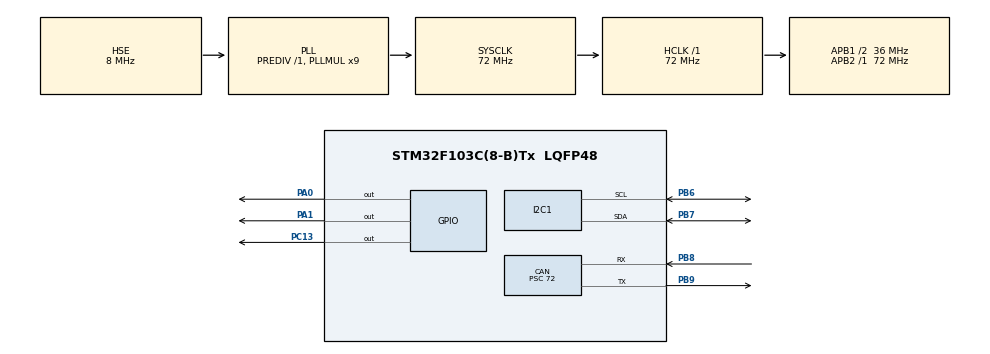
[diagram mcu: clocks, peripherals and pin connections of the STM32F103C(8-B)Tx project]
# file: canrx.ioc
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CAN.BS1=CAN_BS1_2TQ
CAN.CalculateBaudRate=125000
CAN.CalculateTimeBit=8000
CAN.CalculateTimeQuantum=2000.0
CAN.Prescaler=72
Mcu.Family=STM32F1
Mcu.Name=STM32F103C(8-B)Tx
Mcu.Package=LQFP48
NVIC.CAN1_RX1_IRQn=true\:0\:0\:false\:false\:true\:true\:true
NVIC.PriorityGroup=NVIC_PRIORITYGROUP_4
PA0-WKUP.Signal=GPIO_Output
PA1.Signal=GPIO_Output
PA13.Mode=Serial_Wire
PA13.Signal=SYS_JTMS-SWDIO
PA14.Mode=Serial_Wire
PA14.Signal=SYS_JTCK-SWCLK
PB6.Mode=I2C
PB6.Signal=I2C1_SCL
PB7.Mode=I2C
PB7.Signal=I2C1_SDA
PB8.Mode=CAN_Activate
PB8.Signal=CAN_RX
PB9.Mode=CAN_Activate
PB9.Signal=CAN_TX
PC13-TAMPER-RTC.Signal=GPIO_Output
PD0-OSC_IN.Mode=HSE-External-Oscillator
PD0-OSC_IN.Signal=RCC_OSC_IN
PD1-OSC_OUT.Mode=HSE-External-Oscillator
PD1-OSC_OUT.Signal=RCC_OSC_OUT
ProjectManager.HeapSize=0x200
ProjectManager.StackSize=0x400
ProjectManager.TargetToolchain=STM32CubeIDE
RCC.AHBFreq_Value=72000000
RCC.APB1CLKDivider=RCC_HCLK_DIV2
RCC.APB1Freq_Value=36000000
RCC.APB1TimFreq_Value=72000000
RCC.APB2Freq_Value=72000000
RCC.APB2TimFreq_Value=72000000
RCC.HCLKFreq_Value=72000000
RCC.PLLMUL=RCC_PLL_MUL9
RCC.PLLSourceVirtual=RCC_PLLSOURCE_HSE
RCC.SYSCLKFreq_VALUE=72000000
RCC.SYSCLKSource=RCC_SYSCLKSOURCE_PLLCLK
RCC.USBFreq_Value=72000000
board=custom

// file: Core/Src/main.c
/* USER CODE BEGIN Header */
/**
  ******************************************************************************
  * @file           : main.c
  * @brief          : Main program body
  ******************************************************************************
  * @attention
  *
  * Copyright (c) 2025 STMicroelectronics.
  * All rights reserved.
  *
  * This software is licensed under terms that can be found in the LICENSE file
  * in the root directory of this software component.
  * If no LICENSE file comes with this software, it is provided AS-IS.
  *
  ******************************************************************************
  */
/* USER CODE END Header */
#include "main.h"

/* USER CODE BEGIN Includes */
#include "ssd1306.h"
#include "ssd1306_fonts.h"
#include "string.h"
#include "stdio.h"
/* USER CODE END Includes */

CAN_HandleTypeDef hcan;

I2C_HandleTypeDef hi2c1;

/* USER CODE BEGIN PV */
CAN_FilterTypeDef sFilterConfig;
CAN_RxHeaderTypeDef RxHeader;
uint8_t RxData[8];
uint8_t delayLED ;
uint8_t previousDelayLED = 100;  // Biến lưu giá trị delay trước đó
char buffer[20];
uint8_t obstacleSensorValue;
uint32_t stableStartTime = 0;
uint8_t previousValue = 0;
uint8_t isStable = 0;
/* USER CODE END PV */

void SystemClock_Config(void);
static void MX_GPIO_Init(void);
static void MX_CAN_Init(void);
static void MX_I2C1_Init(void);

/* USER CODE BEGIN 0 */
//CAN_FilterTypeDef sFilterConfig;
//CAN_RxHeaderTypeDef RxHeader;
//uint8_t RxData[8];
//uint8_t delayLED;
void HAL_CAN_RxFifo1MsgPendingCallback(CAN_HandleTypeDef *hcan)
{
  HAL_CAN_GetRxMessage(hcan, CAN_RX_FIFO1, &RxHeader, RxData);
  delayLED = RxData[7];  // Nhận giá trị delay mới từ CAN
  obstacleSensorValue = RxData[6];

  // Kiểm tra nếu giá trị delay thay đổi, thì mới cập nhật màn hình
  if (delayLED != previousDelayLED)
  {
    // Hiển thị dữ liệu lên OLEDs
    ssd1306_Fill(Black);
    sprintf(buffer, "Delay: %d ms", delayLED);
    ssd1306_SetCursor(2, 0);
    ssd1306_WriteString(buffer, Font_11x18, White);
    ssd1306_SetCursor(2, 20);
    sprintf(buffer, "State: %d ", obstacleSensorValue);
    ssd1306_WriteString(buffer, Font_11x18, White);
    ssd1306_UpdateScreen();

    // Cập nhật giá trị delay trước đó
    previousDelayLED = delayLED;
  }

}
/* USER CODE END 0 */

int main(void)
{

  /* MCU Configuration--------------------------------------------------------*/

  /* Reset of all peripherals, Initializes the Flash interface and the Systick. */
  HAL_Init();

  /* Configure the system clock */
  SystemClock_Config();

  /* Initialize all configured peripherals */
  MX_GPIO_Init();
  MX_CAN_Init();
  MX_I2C1_Init();
  /* USER CODE BEGIN 2 */
  ssd1306_Init();
  ssd1306_Fill(Black);
  ssd1306_UpdateScreen();
  	HAL_CAN_Start(&hcan);
    // Configure the filter
    sFilterConfig.FilterActivation = CAN_FILTER_ENABLE;
    sFilterConfig.FilterFIFOAssignment = CAN_FILTER_FIFO1;
    sFilterConfig.FilterMode = CAN_FILTERMODE_IDMASK;
    sFilterConfig.FilterIdHigh = 0x6A5<<5;
    sFilterConfig.FilterIdLow = 0;
    sFilterConfig.FilterMaskIdHigh = 0x7FF<<5; // SET 0 to unfilter
    sFilterConfig.FilterMaskIdLow = 0;
    sFilterConfig.FilterScale = CAN_FILTERSCALE_32BIT;
    HAL_CAN_ConfigFilter(&hcan, &sFilterConfig);
    // Activate the notification
    HAL_CAN_ActivateNotification(&hcan, CAN_IT_RX_FIFO1_MSG_PENDING);
  /* USER CODE END 2 */

  /* Infinite loop */
  /* USER CODE BEGIN WHILE */
  while (1)
  {
	  if (obstacleSensorValue == 0)
	  {
		  HAL_GPIO_TogglePin(GPIOC, GPIO_PIN_13);
		  HAL_Delay(delayLED);
		  HAL_GPIO_WritePin(GPIOA, GPIO_PIN_0, GPIO_PIN_SET);   // IN1
		  HAL_GPIO_WritePin(GPIOA, GPIO_PIN_1, GPIO_PIN_RESET); // IN2
	  }
    /* USER CODE END WHILE */
	    if (obstacleSensorValue == 1)
	    {
	    			HAL_GPIO_WritePin(GPIOA, GPIO_PIN_0, GPIO_PIN_RESET);
	    			HAL_GPIO_WritePin(GPIOA, GPIO_PIN_1, GPIO_PIN_RESET);
	                // 👉 Thực hiện hành động ở đây (ví dụ bật LED, gửi CAN, ...)
	                HAL_GPIO_WritePin(GPIOC, GPIO_PIN_13, GPIO_PIN_SET); // Ví dụ
	                HAL_Delay(2000);
	    }

  }
}

void SystemClock_Config(void)
{
  RCC_OscInitTypeDef RCC_OscInitStruct = {0};
  RCC_ClkInitTypeDef RCC_ClkInitStruct = {0};

  /** Initializes the RCC Oscillators according to the specified parameters
  * in the RCC_OscInitTypeDef structure.
  */
  RCC_OscInitStruct.OscillatorType = RCC_OSCILLATORTYPE_HSE;
  RCC_OscInitStruct.HSEState = RCC_HSE_ON;
  RCC_OscInitStruct.HSEPredivValue = RCC_HSE_PREDIV_DIV1;
  RCC_OscInitStruct.HSIState = RCC_HSI_ON;
  RCC_OscInitStruct.PLL.PLLState = RCC_PLL_ON;
  RCC_OscInitStruct.PLL.PLLSource = RCC_PLLSOURCE_HSE;
  RCC_OscInitStruct.PLL.PLLMUL = RCC_PLL_MUL9;
  if (HAL_RCC_OscConfig(&RCC_OscInitStruct) != HAL_OK)
  {
    Error_Handler();
  }
  /** Initializes the CPU, AHB and APB buses clocks
  */
  RCC_ClkInitStruct.ClockType = RCC_CLOCKTYPE_HCLK|RCC_CLOCKTYPE_SYSCLK
                              |RCC_CLOCKTYPE_PCLK1|RCC_CLOCKTYPE_PCLK2;
  RCC_ClkInitStruct.SYSCLKSource = RCC_SYSCLKSOURCE_PLLCLK;
  RCC_ClkInitStruct.AHBCLKDivider = RCC_SYSCLK_DIV1;
  RCC_ClkInitStruct.APB1CLKDivider = RCC_HCLK_DIV2;
  RCC_ClkInitStruct.APB2CLKDivider = RCC_HCLK_DIV1;

  if (HAL_RCC_ClockConfig(&RCC_ClkInitStruct, FLASH_LATENCY_2) != HAL_OK)
  {
    Error_Handler();
  }
}

static void MX_CAN_Init(void)
{

  hcan.Instance = CAN1;
  hcan.Init.Prescaler = 72;
  hcan.Init.Mode = CAN_MODE_NORMAL;
  hcan.Init.SyncJumpWidth = CAN_SJW_1TQ;
  hcan.Init.TimeSeg1 = CAN_BS1_2TQ;
  hcan.Init.TimeSeg2 = CAN_BS2_1TQ;
  hcan.Init.TimeTriggeredMode = DISABLE;
  hcan.Init.AutoBusOff = DISABLE;
  hcan.Init.AutoWakeUp = DISABLE;
  hcan.Init.AutoRetransmission = DISABLE;
  hcan.Init.ReceiveFifoLocked = DISABLE;
  hcan.Init.TransmitFifoPriority = DISABLE;
  if (HAL_CAN_Init(&hcan) != HAL_OK)
  {
    Error_Handler();
  }

}

static void MX_I2C1_Init(void)
{

  hi2c1.Instance = I2C1;
  hi2c1.Init.ClockSpeed = 100000;
  hi2c1.Init.DutyCycle = I2C_DUTYCYCLE_2;
  hi2c1.Init.OwnAddress1 = 0;
  hi2c1.Init.AddressingMode = I2C_ADDRESSINGMODE_7BIT;
  hi2c1.Init.DualAddressMode = I2C_DUALADDRESS_DISABLE;
  hi2c1.Init.OwnAddress2 = 0;
  hi2c1.Init.GeneralCallMode = I2C_GENERALCALL_DISABLE;
  hi2c1.Init.NoStretchMode = I2C_NOSTRETCH_DISABLE;
  if (HAL_I2C_Init(&hi2c1) != HAL_OK)
  {
    Error_Handler();
  }

}

static void MX_GPIO_Init(void)
{
  GPIO_InitTypeDef GPIO_InitStruct = {0};

  /* GPIO Ports Clock Enable */
  __HAL_RCC_GPIOC_CLK_ENABLE();
  __HAL_RCC_GPIOD_CLK_ENABLE();
  __HAL_RCC_GPIOA_CLK_ENABLE();
  __HAL_RCC_GPIOB_CLK_ENABLE();

  /*Configure GPIO pin Output Level */
  HAL_GPIO_WritePin(GPIOC, GPIO_PIN_13, GPIO_PIN_RESET);

  /*Configure GPIO pin : PC13 */
  GPIO_InitStruct.Pin = GPIO_PIN_13;
  GPIO_InitStruct.Mode = GPIO_MODE_OUTPUT_PP;
  GPIO_InitStruct.Pull = GPIO_NOPULL;
  GPIO_InitStruct.Speed = GPIO_SPEED_FREQ_LOW;
  HAL_GPIO_Init(GPIOC, &GPIO_InitStruct);

  /*Configure GPIO pins : PA0 PA1 */
  GPIO_InitStruct.Pin = GPIO_PIN_0 | GPIO_PIN_1;
  GPIO_InitStruct.Mode = GPIO_MODE_OUTPUT_PP;
  GPIO_InitStruct.Pull = GPIO_NOPULL;
  GPIO_InitStruct.Speed = GPIO_SPEED_FREQ_LOW;
  HAL_GPIO_Init(GPIOA, &GPIO_InitStruct);

}

void Error_Handler(void)
{
  __disable_irq();
  while (1)
  {
  }
}
